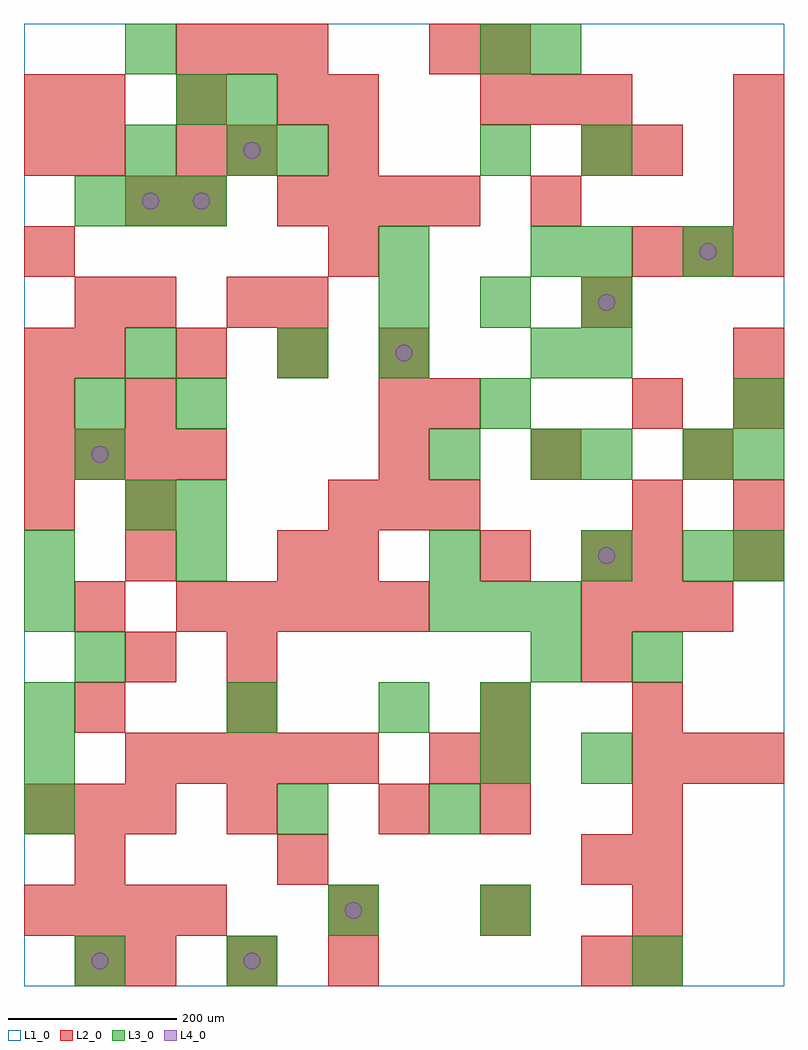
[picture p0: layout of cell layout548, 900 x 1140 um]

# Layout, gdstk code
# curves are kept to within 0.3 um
import gdstk
lib = gdstk.Library(unit=1e-6, precision=1e-09)
def R(c, l, rs):  # rectangles x0, y0, x1, y1
    for r in rs: c.add(gdstk.rectangle(r[:2], r[2:], *l))
def A(c, l, x, y, w, h, nx, ny, dx, dy):  # array of equal rectangles
    R(c, l, [(x+i*dx, y+j*dy, x+i*dx+w, y+j*dy+h) for i in range(nx) for j in range(ny)])
def P(c, l, *ps):  # polygons
    for p in ps: c.add(gdstk.Polygon(p, *l))
L1_0 = (1, 0)
L2_0 = (2, 0)
L3_0 = (3, 0)
L4_0 = (4, 0)

layout548 = lib.new_cell('layout548')
R(layout548, L1_0, [(0,0,900,1140)])
A(layout548, L2_0, 120, 0, 60, 60, 3, 1, 120, 0)
A(layout548, L2_0, 0, 60, 60, 60, 4, 2, 60, 540)
A(layout548, L2_0, 360, 60, 60, 60, 3, 1, 180, 0)
A(layout548, L2_0, 0, 180, 60, 60, 3, 1, 60, 0)
A(layout548, L2_0, 540, 180, 60, 60, 1, 3, 0, 60)
A(layout548, L2_0, 120, 240, 60, 60, 5, 1, 60, 0)
A(layout548, L2_0, 480, 240, 60, 60, 1, 3, 0, 420)
A(layout548, L2_0, 720, 240, 60, 60, 3, 1, 60, 0)
A(layout548, L2_0, 180, 420, 60, 60, 5, 1, 60, 0)
A(layout548, L2_0, 660, 420, 60, 60, 3, 1, 60, 0)
A(layout548, L2_0, 120, 540, 60, 60, 1, 4, 0, 120)
A(layout548, L2_0, 360, 540, 60, 60, 3, 1, 60, 0)
A(layout548, L2_0, 420, 600, 60, 60, 3, 1, 180, 0)
A(layout548, L2_0, 60, 720, 60, 60, 4, 1, 120, 0)
A(layout548, L2_0, 0, 840, 60, 60, 3, 1, 360, 0)
A(layout548, L2_0, 840, 840, 60, 60, 1, 4, 0, 60)
A(layout548, L2_0, 300, 900, 60, 60, 4, 1, 60, 0)
A(layout548, L2_0, 60, 1020, 60, 60, 3, 1, 120, 0)
A(layout548, L2_0, 540, 1020, 60, 60, 3, 1, 60, 0)
A(layout548, L2_0, 180, 1080, 60, 60, 3, 1, 60, 0)
R(layout548, L2_0, [(60,0,120,60), (660,0,720,60), (720,0,780,60), (60,120,120,180), (300,120,360,180), (660,120,720,180), (720,120,780,180), (240,180,300,240), (420,180,480,240), (720,180,780,240), (60,300,120,360), (240,300,300,360), (720,300,780,360), (120,360,180,420), (240,360,300,420), (660,360,720,420), (60,420,120,480), (120,480,180,540), (300,480,360,540), (360,480,420,540), (540,480,600,540), (660,480,720,540), (720,480,780,540), (840,480,900,540), (0,540,60,600), (720,540,780,600), (840,540,900,600), (0,660,60,720), (420,660,480,720), (720,660,780,720), (840,660,900,720), (0,720,60,780), (840,720,900,780), (60,780,120,840), (240,780,300,840), (300,780,360,840), (660,780,720,840), (780,840,840,900), (180,900,240,960), (600,900,660,960), (0,960,60,1020), (60,960,120,1020), (180,960,240,1020), (240,960,300,1020), (360,960,420,1020), (660,960,720,1020), (720,960,780,1020), (0,1020,60,1080), (360,1020,420,1080), (540,1080,600,1140)])
A(layout548, L3_0, 0, 180, 60, 60, 1, 3, 0, 60)
A(layout548, L3_0, 480, 420, 60, 60, 3, 1, 60, 0)
A(layout548, L3_0, 660, 480, 60, 60, 1, 5, 0, 120)
A(layout548, L3_0, 600, 600, 60, 60, 1, 3, 0, 120)
A(layout548, L3_0, 420, 780, 60, 60, 3, 1, 120, 0)
A(layout548, L3_0, 60, 900, 60, 60, 3, 1, 60, 0)
R(layout548, L3_0, [(60,0,120,60), (240,0,300,60), (720,0,780,60), (360,60,420,120), (540,60,600,120), (300,180,360,240), (480,180,540,240), (540,240,600,300), (660,240,720,300), (240,300,300,360), (420,300,480,360), (540,300,600,360), (60,360,120,420), (600,360,660,420), (720,360,780,420), (0,420,60,480), (0,480,60,540), (180,480,240,540), (480,480,540,540), (780,480,840,540), (840,480,900,540), (120,540,180,600), (180,540,240,600), (60,600,120,660), (480,600,540,660), (780,600,840,660), (840,600,900,660), (60,660,120,720), (180,660,240,720), (540,660,600,720), (840,660,900,720), (120,720,180,780), (300,720,360,780), (420,720,480,780), (420,840,480,900), (780,840,840,900), (120,960,180,1020), (240,960,300,1020), (300,960,360,1020), (540,960,600,1020), (180,1020,240,1080), (240,1020,300,1080), (120,1080,180,1140), (540,1080,600,1140), (600,1080,660,1140)])
P(layout548, L4_0, [(100,30),(99.239,33.827),(97.071,37.071),(93.827,39.239),(90,40),(86.173,39.239),(82.929,37.071),(80.761,33.827),(80,30),(80.761,26.173),(82.929,22.929),(86.173,20.761),(90,20),(93.827,20.761),(97.071,22.929),(99.239,26.173)],
  [(100,630),(99.239,633.827),(97.071,637.071),(93.827,639.239),(90,640),(86.173,639.239),(82.929,637.071),(80.761,633.827),(80,630),(80.761,626.173),(82.929,622.929),(86.173,620.761),(90,620),(93.827,620.761),(97.071,622.929),(99.239,626.173)],
  [(160,930),(159.239,933.827),(157.071,937.071),(153.827,939.239),(150,940),(146.173,939.239),(142.929,937.071),(140.761,933.827),(140,930),(140.761,926.173),(142.929,922.929),(146.173,920.761),(150,920),(153.827,920.761),(157.071,922.929),(159.239,926.173)],
  [(220,930),(219.239,933.827),(217.071,937.071),(213.827,939.239),(210,940),(206.173,939.239),(202.929,937.071),(200.761,933.827),(200,930),(200.761,926.173),(202.929,922.929),(206.173,920.761),(210,920),(213.827,920.761),(217.071,922.929),(219.239,926.173)],
  [(280,30),(279.239,33.827),(277.071,37.071),(273.827,39.239),(270,40),(266.173,39.239),(262.929,37.071),(260.761,33.827),(260,30),(260.761,26.173),(262.929,22.929),(266.173,20.761),(270,20),(273.827,20.761),(277.071,22.929),(279.239,26.173)],
  [(280,990),(279.239,993.827),(277.071,997.071),(273.827,999.239),(270,1000),(266.173,999.239),(262.929,997.071),(260.761,993.827),(260,990),(260.761,986.173),(262.929,982.929),(266.173,980.761),(270,980),(273.827,980.761),(277.071,982.929),(279.239,986.173)],
  [(400,90),(399.239,93.827),(397.071,97.071),(393.827,99.239),(390,100),(386.173,99.239),(382.929,97.071),(380.761,93.827),(380,90),(380.761,86.173),(382.929,82.929),(386.173,80.761),(390,80),(393.827,80.761),(397.071,82.929),(399.239,86.173)],
  [(460,750),(459.239,753.827),(457.071,757.071),(453.827,759.239),(450,760),(446.173,759.239),(442.929,757.071),(440.761,753.827),(440,750),(440.761,746.173),(442.929,742.929),(446.173,740.761),(450,740),(453.827,740.761),(457.071,742.929),(459.239,746.173)],
  [(700,510),(699.239,513.827),(697.071,517.071),(693.827,519.239),(690,520),(686.173,519.239),(682.929,517.071),(680.761,513.827),(680,510),(680.761,506.173),(682.929,502.929),(686.173,500.761),(690,500),(693.827,500.761),(697.071,502.929),(699.239,506.173)],
  [(700,810),(699.239,813.827),(697.071,817.071),(693.827,819.239),(690,820),(686.173,819.239),(682.929,817.071),(680.761,813.827),(680,810),(680.761,806.173),(682.929,802.929),(686.173,800.761),(690,800),(693.827,800.761),(697.071,802.929),(699.239,806.173)],
  [(820,870),(819.239,873.827),(817.071,877.071),(813.827,879.239),(810,880),(806.173,879.239),(802.929,877.071),(800.761,873.827),(800,870),(800.761,866.173),(802.929,862.929),(806.173,860.761),(810,860),(813.827,860.761),(817.071,862.929),(819.239,866.173)])

lib.write_gds('layout548.gds')
